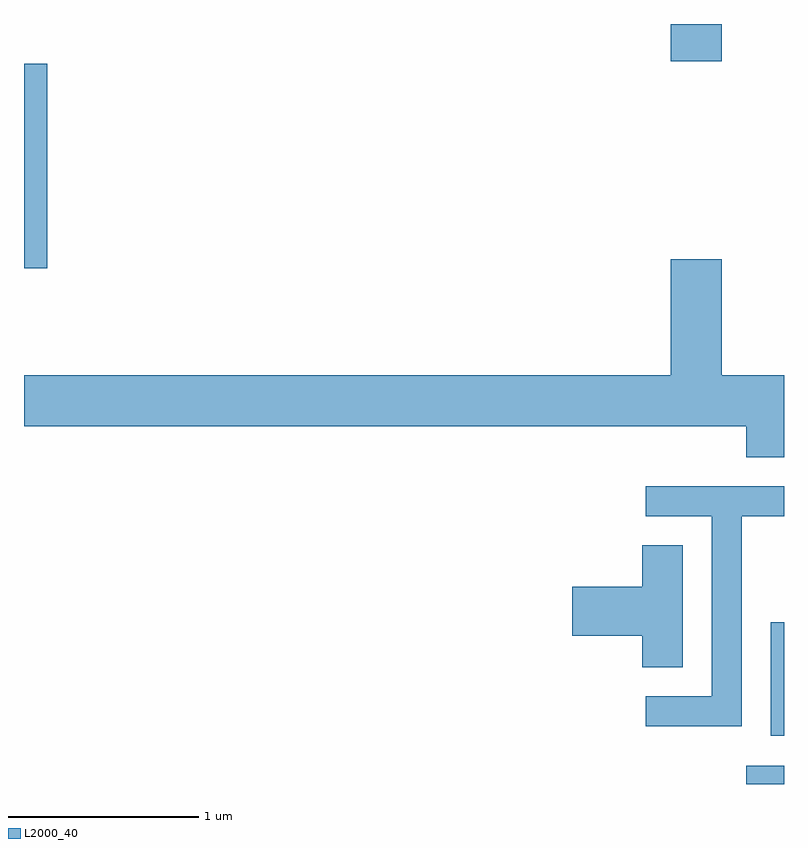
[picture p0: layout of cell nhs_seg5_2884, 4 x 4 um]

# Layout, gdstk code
import gdstk
lib = gdstk.Library(unit=1e-6, precision=1e-09)
def R(c, l, rs):  # rectangles x0, y0, x1, y1
    for r in rs: c.add(gdstk.rectangle(r[:2], r[2:], *l))
def P(c, l, *ps):  # polygons
    for p in ps: c.add(gdstk.Polygon(p, *l))
L2000_40 = (2000, 40)

nhs_seg5_2884 = lib.new_cell('nhs_seg5_2884')
R(nhs_seg5_2884, L2000_40, [(275.411,1406.072,275.611,1406.169), (275.541,1406.326,275.611,1406.924), (271.611,1408.786,271.734,1409.864), (275.016,1409.876,275.284,1410.072)])
P(nhs_seg5_2884, L2000_40, [(275.611,1408.224),(275.284,1408.224),(275.284,1408.834),(275.016,1408.834),(275.016,1408.224),(271.611,1408.224),(271.611,1407.956),(275.411,1407.956),(275.411,1407.791),(275.611,1407.791)],
  [(275.389,1407.481),(275.611,1407.481),(275.611,1407.639),(274.883,1407.639),(274.883,1407.481),(275.231,1407.481),(275.231,1406.534),(274.883,1406.534),(274.883,1406.376),(275.389,1406.376)],
  [(275.079,1407.329),(274.866,1407.329),(274.866,1407.109),(274.496,1407.109),(274.496,1406.851),(274.866,1406.851),(274.866,1406.686),(275.079,1406.686)])

lib.write_gds('nhs_seg5_2884.gds')
